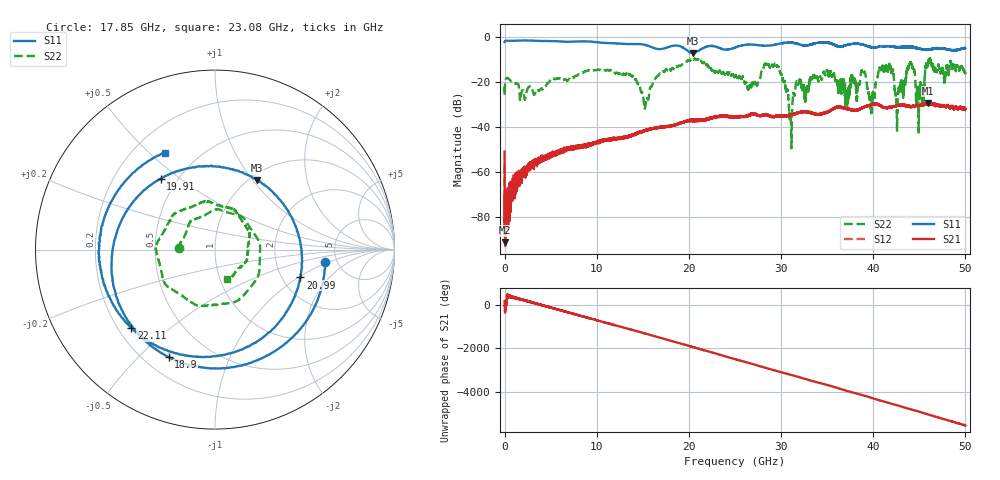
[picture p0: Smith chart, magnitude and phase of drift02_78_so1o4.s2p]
!Created with skrf (http://scikit-rf.org).
# Hz S RI R 50.0
!freq ReS11 ImS11 ReS21 ImS21 ReS12 ImS12 ReS22 ImS22
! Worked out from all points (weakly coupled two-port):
!   10001 points, 300 kHz to 50 GHz, reference 50 ohm
!   highest |S21| = -29.07 dB at 45.98 GHz (marker M1); lowest = -91.1 dB at 55.3 MHz (marker M2)
!   lowest |S11| = -6.9 dB at 20.41 GHz (marker M3), VSWR 2.64, Z = 54.1 + j52.4 ohm
!   |S11| at or under -10 dB: nowhere
!   |S22| runs from -49.3 to -9.2 dB; largest |S21 - S12| = 0.0035
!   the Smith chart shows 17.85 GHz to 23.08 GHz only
!   S11 on the Smith chart (normalised r, x): 17.85 GHz: 4.03, -0.86; 18.9 GHz: 0.30, -0.62; 19.91 GHz: 0.41, +0.43; 20.99 GHz: 2.51, -1.04; 22.11 GHz: 0.25, -0.37; 23.08 GHz: 0.33, +0.56
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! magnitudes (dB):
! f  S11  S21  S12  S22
! 300 kHz  -2.1  -50.7  -56.7  -21.7
! 55.3 MHz  -1.6  -91.1  -77.6  -20.3
! 8.335 GHz  -1.7  -48.5  -48.2  -15.8
! 15.33 GHz  -3.4  -41.2  -41.2  -29.1
! 16.67 GHz  -5.2  -40.2  -40.0  -16.9
! 17.85 GHz  -4.2  -39.5  -39.4  -13.9
! 18.9 GHz  -3.7  -38.3  -38.3  -12.5
! 19.91 GHz  -6.1  -37.2  -37.0  -10.1
! 20.41 GHz  -6.9  -36.8  -36.5  -10.0
! 20.99 GHz  -6.0  -36.8  -36.8  -9.7
! 22.11 GHz  -3.9  -36.3  -36.3  -12.9
! 23.08 GHz  -4.3  -35.0  -35.4  -14.9
! 25 GHz  -4.5  -35.5  -35.3  -17.5
! 29.52 GHz  -3.1  -35.0  -34.9  -12.7
! 31.04 GHz  -2.2  -34.7  -34.6  -35.8
! 33.34 GHz  -3.0  -33.5  -33.6  -17.9
! 39.88 GHz  -4.4  -29.6  -29.8  -28.7
! 41.67 GHz  -4.0  -31.0  -31.1  -13.3
! 44.18 GHz  -4.2  -30.8  -30.9  -12.2
! 44.85 GHz  -4.9  -30.3  -30.1  -24.4
! 45.98 GHz  -5.4  -29.1  -29.4  -10.7
! 50 GHz  -4.7  -31.8  -31.9  -15.9
